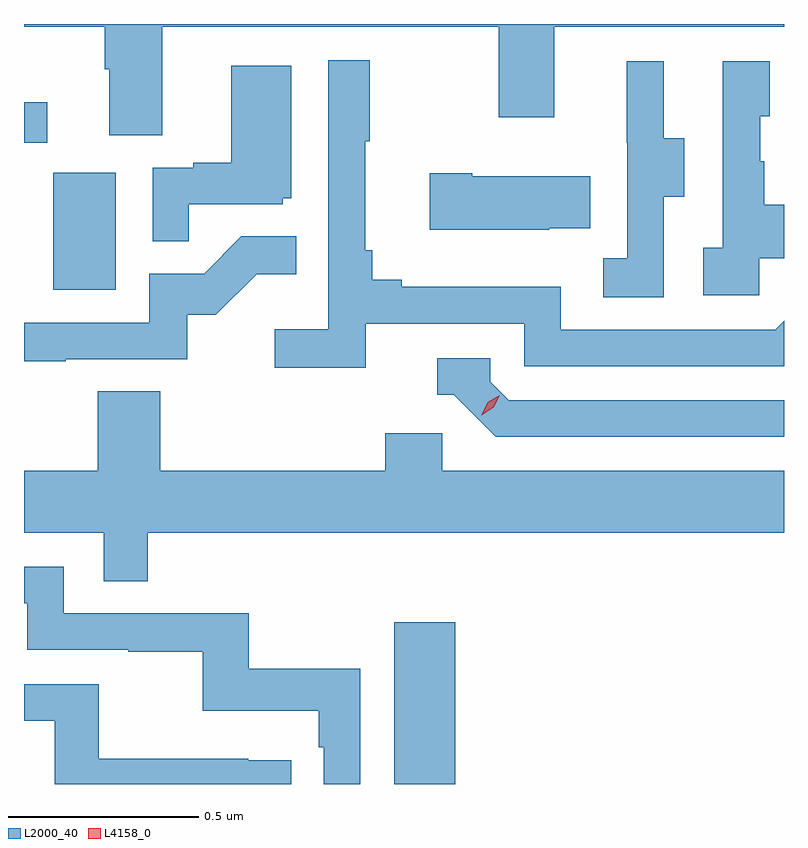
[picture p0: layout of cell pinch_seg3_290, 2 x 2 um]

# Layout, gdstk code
import gdstk
lib = gdstk.Library(unit=1e-6, precision=1e-09)
def R(c, l, rs):  # rectangles x0, y0, x1, y1
    for r in rs: c.add(gdstk.rectangle(r[:2], r[2:], *l))
def P(c, l, *ps):  # polygons
    for p in ps: c.add(gdstk.Polygon(p, *l))
L2000_40 = (2000, 40)
L4158_0 = (4158, 0)

pinch_seg3_290 = lib.new_cell('pinch_seg3_290')
R(pinch_seg3_290, L2000_40, [(927.233,716.239,927.394,716.665), (926.336,717.54,926.5,717.847), (926.259,717.927,926.32,718.033)])
P(pinch_seg3_290, L2000_40, [(926.623,718.232),(927.508,718.232),(927.508,717.993),(927.655,717.993),(927.655,718.232),(928.259,718.232),(928.259,718.239),(926.259,718.239),(926.259,718.232),(926.471,718.232),(926.471,718.12),(926.483,718.12),(926.483,717.946),(926.623,717.946)],
  [(927.158,717.45),(927.576,717.45),(927.576,717.339),(928.259,717.339),(928.259,717.458),(928.236,717.435),(927.672,717.435),(927.672,717.547),(927.253,717.547),(927.253,717.566),(927.176,717.566),(927.176,717.643),(927.157,717.643),(927.157,717.931),(927.169,717.931),(927.169,718.144),(927.06,718.144),(927.06,717.436),(926.919,717.436),(926.919,717.334),(927.158,717.334)],
  [(927.942,717.784),(927.997,717.784),(927.997,717.939),(927.943,717.939),(927.943,718.141),(927.845,718.141),(927.845,717.927),(927.846,717.927),(927.846,717.623),(927.783,717.623),(927.783,717.52),(927.942,717.52)],
  [(928.194,717.623),(928.259,717.623),(928.259,717.763),(928.207,717.763),(928.207,717.878),(928.197,717.878),(928.197,717.996),(928.222,717.996),(928.222,718.141),(928.098,718.141),(928.098,717.65),(928.047,717.65),(928.047,717.525),(928.194,717.525)],
  [(926.693,717.765),(926.94,717.765),(926.94,717.78),(926.962,717.78),(926.962,718.129),(926.804,718.129),(926.804,717.874),(926.705,717.874),(926.705,717.861),(926.598,717.861),(926.598,717.667),(926.693,717.667)],
  [(927.641,717.701),(927.749,717.701),(927.749,717.838),(927.439,717.838),(927.439,717.846),(927.327,717.846),(927.327,717.698),(927.641,717.698)],
  [(926.369,717.357),(926.688,717.357),(926.688,717.474),(926.764,717.474),(926.871,717.581),(926.975,717.581),(926.975,717.68),(926.831,717.68),(926.733,717.582),(926.589,717.582),(926.589,717.453),(926.259,717.453),(926.259,717.352),(926.369,717.352)],
  [(928.259,717.249),(927.534,717.249),(927.486,717.297),(927.486,717.36),(927.347,717.36),(927.347,717.264),(927.39,717.264),(927.501,717.153),(928.259,717.153)],
  [(926.585,716.9),(928.259,716.9),(928.259,717.064),(927.36,717.064),(927.36,717.162),(927.209,717.162),(927.209,717.064),(926.618,717.064),(926.618,717.272),(926.453,717.272),(926.453,717.064),(926.259,717.064),(926.259,716.9),(926.469,716.9),(926.469,716.773),(926.585,716.773)],
  [(927.144,716.542),(926.851,716.542),(926.851,716.688),(926.364,716.688),(926.364,716.811),(926.259,716.811),(926.259,716.715),(926.268,716.715),(926.268,716.592),(926.533,716.592),(926.533,716.587),(926.73,716.587),(926.73,716.432),(927.035,716.432),(927.035,716.336),(927.048,716.336),(927.048,716.239),(927.144,716.239)],
  [(926.962,716.301),(926.849,716.301),(926.849,716.306),(926.456,716.306),(926.456,716.502),(926.259,716.502),(926.259,716.406),(926.34,716.406),(926.34,716.239),(926.962,716.239)])
P(pinch_seg3_290, L4158_0, [(927.463,717.21),(927.463,717.211),(927.48,717.243),(927.511,717.262),(927.511,717.262),(927.511,717.262),(927.495,717.23),(927.464,717.21)])

lib.write_gds('pinch_seg3_290.gds')
